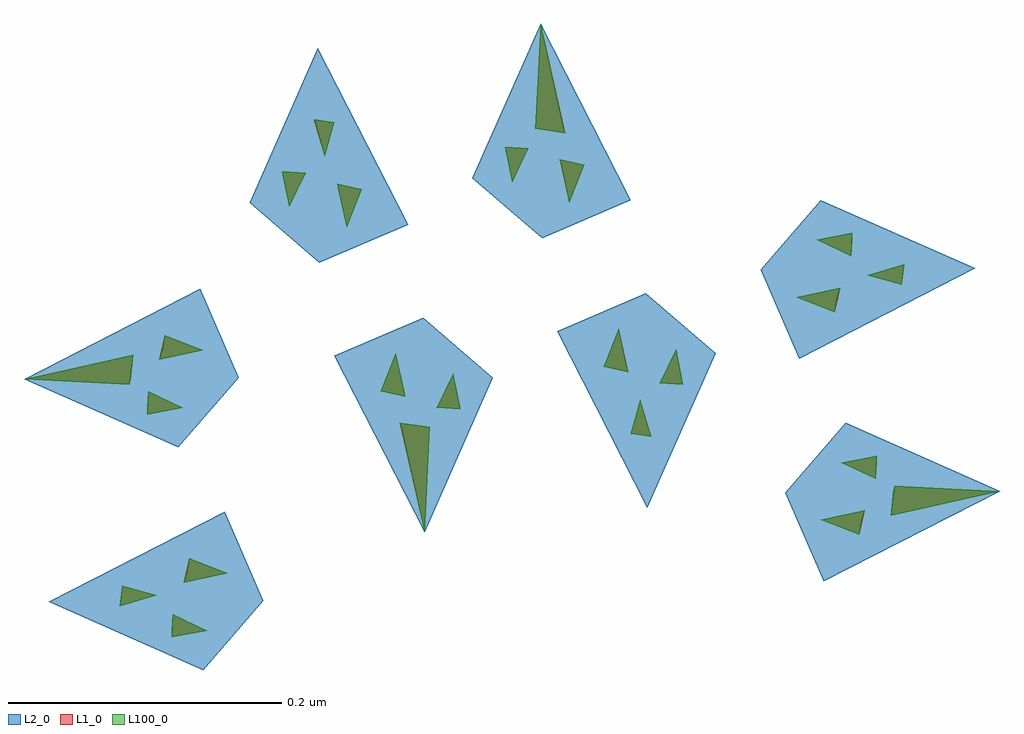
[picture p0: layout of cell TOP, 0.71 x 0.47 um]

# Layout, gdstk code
import gdstk
lib = gdstk.Library(unit=1e-6, precision=1e-09)
def P(c, l, *ps):  # polygons
    for p in ps: c.add(gdstk.Polygon(p, *l))
L1_0 = (1, 0)
L2_0 = (2, 0)
L100_0 = (100, 0)

top = lib.new_cell('TOP')
P(top, L1_0, [(-0.81,1.3),(-0.817,1.332),(-0.799,1.328)],
  [(-0.647,1.318),(-0.654,1.35),(-0.636,1.346)],
  [(-0.929,1.04),(-0.925,1.058),(-0.897,1.047)],
  [(-0.947,1.203),(-0.943,1.221),(-0.915,1.21)],
  [(-0.767,1.176),(-0.785,1.18),(-0.774,1.208)],
  [(-0.604,1.194),(-0.622,1.198),(-0.611,1.226)],
  [(-0.852,1.315),(-0.857,1.341),(-0.84,1.34)],
  [(-0.689,1.333),(-0.694,1.359),(-0.677,1.358)],
  [(-0.423,1.116),(-0.448,1.128),(-0.422,1.133)],
  [(-0.441,1.279),(-0.466,1.291),(-0.44,1.296)],
  [(-0.753,1.077),(-0.771,1.157),(-0.749,1.154)],
  [(-0.969,1.185),(-1.046,1.189),(-0.966,1.207)],
  [(-0.435,1.075),(-0.463,1.086),(-0.431,1.093)],
  [(-0.453,1.238),(-0.481,1.249),(-0.449,1.256)],
  [(-0.412,1.089),(-0.409,1.111),(-0.332,1.107)],
  [(-0.826,1.352),(-0.834,1.379),(-0.819,1.377)],
  [(-0.587,1.147),(-0.602,1.149),(-0.595,1.174)],
  [(-0.727,1.167),(-0.744,1.168),(-0.732,1.193)],
  [(-0.564,1.185),(-0.581,1.186),(-0.569,1.211)],
  [(-0.65,1.369),(-0.672,1.372),(-0.668,1.449)],
  [(-0.938,1),(-0.937,1.017),(-0.912,1.005)],
  [(-0.956,1.163),(-0.955,1.18),(-0.93,1.168)],
  [(-0.404,1.258),(-0.429,1.265),(-0.402,1.273)],
  [(-0.976,1.023),(-0.974,1.038),(-0.949,1.031)])
P(top, L2_0, [(-0.83,1.274),(-0.881,1.318),(-0.831,1.431),(-0.765,1.302)],
  [(-0.667,1.292),(-0.718,1.336),(-0.668,1.449),(-0.602,1.32)],
  [(-0.753,1.077),(-0.819,1.206),(-0.754,1.234),(-0.703,1.19)],
  [(-0.59,1.095),(-0.656,1.224),(-0.591,1.252),(-0.54,1.208)],
  [(-0.461,1.041),(-0.489,1.106),(-0.445,1.157),(-0.332,1.107)],
  [(-0.479,1.204),(-0.507,1.269),(-0.463,1.32),(-0.35,1.27)],
  [(-0.915,0.976),(-1.028,1.026),(-0.899,1.092),(-0.871,1.027)],
  [(-0.933,1.139),(-1.046,1.189),(-0.917,1.255),(-0.889,1.19)])
P(top, L100_0, [(-0.975,1.031),(-0.974,1.038),(-0.949,1.031)],
  [(-0.412,1.089),(-0.41,1.107),(-0.332,1.107)],
  [(-0.976,1.023),(-0.975,1.031),(-0.949,1.031)],
  [(-0.857,1.34),(-0.857,1.341),(-0.84,1.34)],
  [(-0.694,1.358),(-0.694,1.359),(-0.677,1.358)],
  [(-0.929,1.04),(-0.927,1.047),(-0.897,1.047)],
  [(-0.947,1.203),(-0.945,1.21),(-0.915,1.21)],
  [(-0.587,1.147),(-0.602,1.149),(-0.588,1.149)],
  [(-0.77,1.154),(-0.771,1.157),(-0.749,1.154)],
  [(-0.938,1),(-0.938,1.005),(-0.912,1.005)],
  [(-0.956,1.163),(-0.956,1.168),(-0.93,1.168)],
  [(-0.81,1.3),(-0.816,1.328),(-0.799,1.328)],
  [(-0.647,1.318),(-0.653,1.346),(-0.636,1.346)],
  [(-1.046,1.189),(-0.966,1.207),(-0.968,1.189)],
  [(-0.448,1.128),(-0.422,1.133),(-0.422,1.128)],
  [(-0.466,1.291),(-0.44,1.296),(-0.44,1.291)],
  [(-0.435,1.075),(-0.463,1.086),(-0.433,1.086)],
  [(-0.453,1.238),(-0.481,1.249),(-0.451,1.249)],
  [(-0.938,1.005),(-0.937,1.017),(-0.912,1.005)],
  [(-0.956,1.168),(-0.955,1.18),(-0.93,1.168)],
  [(-0.41,1.107),(-0.409,1.111),(-0.332,1.107)],
  [(-0.672,1.372),(-0.668,1.449),(-0.651,1.372)],
  [(-0.969,1.185),(-1.046,1.189),(-0.968,1.189)],
  [(-0.602,1.149),(-0.595,1.174),(-0.588,1.149)],
  [(-0.429,1.265),(-0.402,1.273),(-0.403,1.265)],
  [(-0.826,1.352),(-0.833,1.377),(-0.819,1.377)],
  [(-0.423,1.116),(-0.448,1.128),(-0.422,1.128)],
  [(-0.441,1.279),(-0.466,1.291),(-0.44,1.291)],
  [(-0.785,1.18),(-0.774,1.208),(-0.768,1.18)],
  [(-0.622,1.198),(-0.611,1.226),(-0.605,1.198)],
  [(-0.463,1.086),(-0.431,1.093),(-0.433,1.086)],
  [(-0.481,1.249),(-0.449,1.256),(-0.451,1.249)],
  [(-0.744,1.168),(-0.732,1.193),(-0.727,1.168)],
  [(-0.581,1.186),(-0.569,1.211),(-0.564,1.186)],
  [(-0.852,1.315),(-0.857,1.34),(-0.84,1.34)],
  [(-0.689,1.333),(-0.694,1.358),(-0.677,1.358)],
  [(-0.65,1.369),(-0.672,1.372),(-0.651,1.372)],
  [(-0.767,1.176),(-0.785,1.18),(-0.768,1.18)],
  [(-0.604,1.194),(-0.622,1.198),(-0.605,1.198)],
  [(-0.816,1.328),(-0.817,1.332),(-0.799,1.328)],
  [(-0.653,1.346),(-0.654,1.35),(-0.636,1.346)],
  [(-0.404,1.258),(-0.429,1.265),(-0.403,1.265)],
  [(-0.833,1.377),(-0.834,1.379),(-0.819,1.377)],
  [(-0.927,1.047),(-0.925,1.058),(-0.897,1.047)],
  [(-0.945,1.21),(-0.943,1.221),(-0.915,1.21)],
  [(-0.753,1.077),(-0.77,1.154),(-0.749,1.154)],
  [(-0.727,1.167),(-0.744,1.168),(-0.727,1.168)],
  [(-0.564,1.185),(-0.581,1.186),(-0.564,1.186)])

lib.write_gds('TOP.gds')
